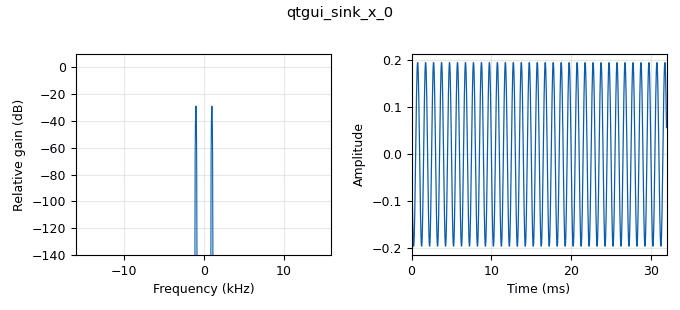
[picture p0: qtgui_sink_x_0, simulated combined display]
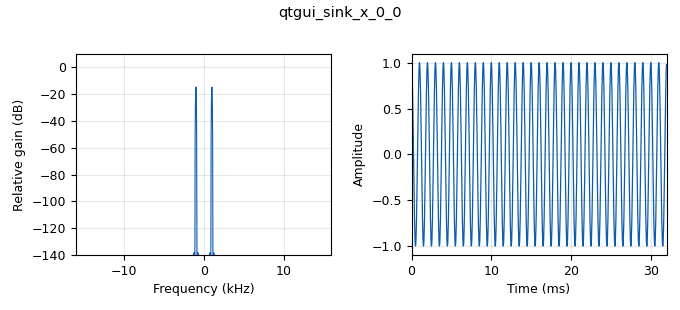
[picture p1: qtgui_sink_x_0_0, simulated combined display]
options:
  parameters:
    author: Nicolas
    generate_options: qt_gui
    id: Practica1
    output_language: python
    title: Practica 1
  states: {}

blocks:
- name: samp_rate
  id: variable
  parameters:
    value: '32000'
  states: {}
- name: analog_sig_source_x_0
  id: analog_sig_source_x
  parameters:
    amp: '1'
    freq: '1000'
    offset: '0'
    phase: '0'
    samp_rate: samp_rate
    type: float
    waveform: analog.GR_COS_WAVE
  states: {}
- name: epy_block_0
  id: epy_block
  parameters:
    _source_code: |-
      import numpy as np
      from gnuradio import gr

      class blk(gr.sync_block):

          def __init__(self):
              gr.sync_block.__init__(
                  self,
                  name="e_Diff",
                  in_sig=[np.float32],
                  out_sig=[np.float32]
              )

              # Memoria del último valor de entrada
              self.x_anterior = np.float32(0)

          def work(self, input_items, output_items):

              x = input_items[0]
              y0 = output_items[0]

              N = len(x)
              if N == 0:
                  return 0

              # Diferencia dentro del buffer
              y0[0] = x[0] - self.x_anterior
              y0[1:] = x[1:] - x[:-1]

              # Guardar último valor para siguiente buffer
              self.x_anterior = x[N - 1]

              return N
  states: {}
- name: qtgui_sink_x_0
  id: qtgui_sink_x
  parameters:
    bw: samp_rate
    fc: '0'
    fftsize: '1024'
    type: float
  states: {}
- name: qtgui_sink_x_0_0
  id: qtgui_sink_x
  parameters:
    bw: samp_rate
    fc: '0'
    fftsize: '1024'
    type: float
  states: {}

connections:
- [analog_sig_source_x_0, '0', epy_block_0, '0']
- [analog_sig_source_x_0, '0', qtgui_sink_x_0_0, '0']
- [epy_block_0, '0', qtgui_sink_x_0, '0']

metadata:
  file_format: 1
  grc_version: 3.10.12.0
